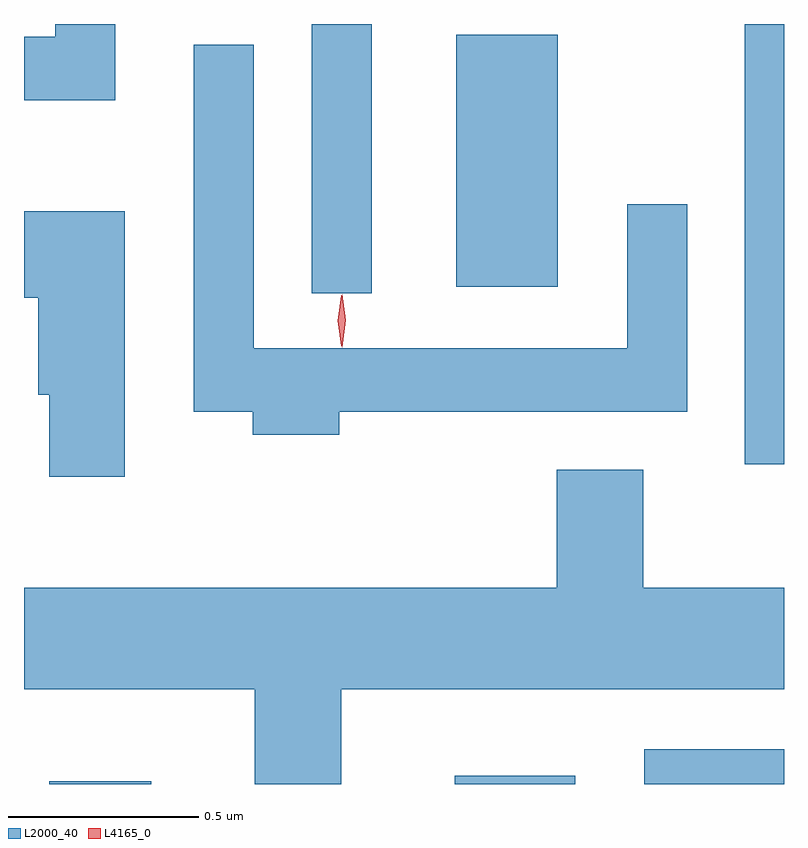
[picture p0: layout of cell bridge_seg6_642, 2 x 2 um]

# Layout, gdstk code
import gdstk
lib = gdstk.Library(unit=1e-6, precision=1e-09)
def R(c, l, rs):  # rectangles x0, y0, x1, y1
    for r in rs: c.add(gdstk.rectangle(r[:2], r[2:], *l))
def P(c, l, *ps):  # polygons
    for p in ps: c.add(gdstk.Polygon(p, *l))
L2000_40 = (2000, 40)
L4165_0 = (4165, 0)

bridge_seg6_642 = lib.new_cell('bridge_seg6_642')
R(bridge_seg6_642, L2000_40, [(543.856,1609.727,544.124,1609.734), (544.923,1609.727,545.239,1609.749), (545.421,1609.727,545.789,1609.819), (545.686,1610.568,545.789,1611.727), (544.546,1611.018,544.704,1611.727), (544.926,1611.036,545.194,1611.699)])
P(bridge_seg6_642, L2000_40, [(544.029,1611.727),(543.871,1611.727),(543.871,1611.694),(543.789,1611.694),(543.789,1611.526),(544.029,1611.526)],
  [(544.619,1610.706),(545.534,1610.706),(545.534,1611.253),(545.376,1611.253),(545.376,1610.874),(544.394,1610.874),(544.394,1611.673),(544.236,1611.673),(544.236,1610.706),(544.391,1610.706),(544.391,1610.646),(544.619,1610.646)],
  [(544.054,1611.234),(543.789,1611.234),(543.789,1611.006),(543.826,1611.006),(543.826,1610.751),(543.856,1610.751),(543.856,1610.536),(544.054,1610.536)],
  [(544.624,1609.976),(545.789,1609.976),(545.789,1610.244),(545.419,1610.244),(545.419,1610.554),(545.191,1610.554),(545.191,1610.244),(543.789,1610.244),(543.789,1609.976),(544.396,1609.976),(544.396,1609.727),(544.624,1609.727)])
P(bridge_seg6_642, L4165_0, [(544.625,1610.879),(544.624,1610.88),(544.615,1610.946),(544.624,1611.012),(544.624,1611.013),(544.625,1611.012),(544.634,1610.946),(544.625,1610.88)],
  [(544.626,1610.877),(544.626,1610.877),(544.616,1610.947),(544.626,1611.016),(544.626,1611.016),(544.627,1611.016),(544.636,1610.947),(544.627,1610.877)])

lib.write_gds('bridge_seg6_642.gds')
